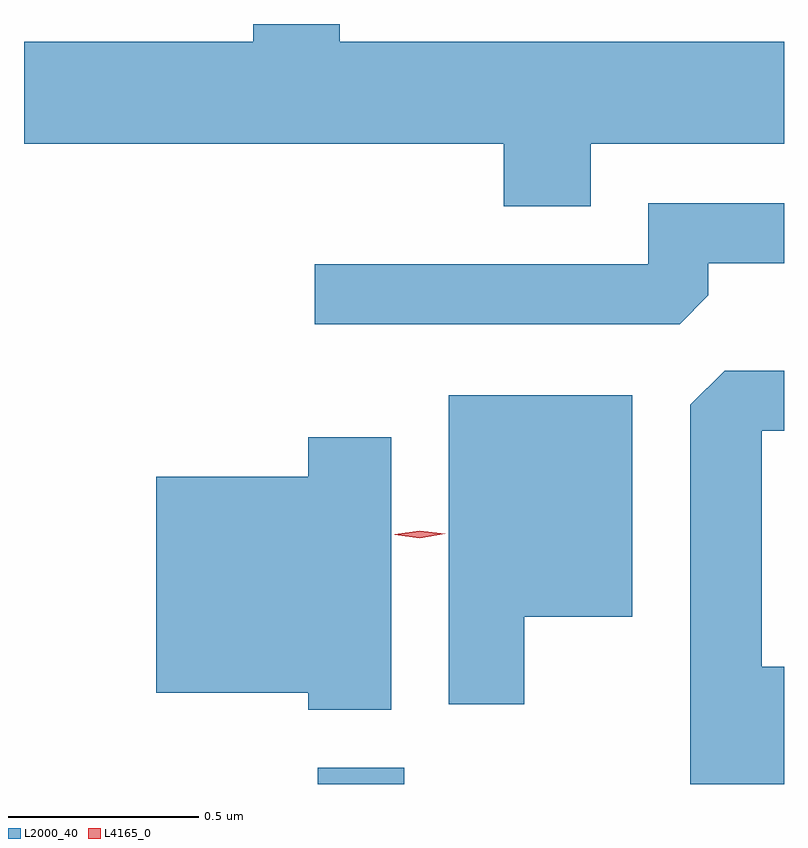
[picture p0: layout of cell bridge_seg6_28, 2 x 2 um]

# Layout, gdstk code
import gdstk
lib = gdstk.Library(unit=1e-6, precision=1e-09)
def R(c, l, rs):  # rectangles x0, y0, x1, y1
    for r in rs: c.add(gdstk.rectangle(r[:2], r[2:], *l))
def P(c, l, *ps):  # polygons
    for p in ps: c.add(gdstk.Polygon(p, *l))
L2000_40 = (2000, 40)
L4165_0 = (4165, 0)

bridge_seg6_28 = lib.new_cell('bridge_seg6_28')
R(bridge_seg6_28, L2000_40, [(1789.671,1648.251,1789.899,1648.294)])
P(bridge_seg6_28, L2000_40, [(1790.389,1649.936),(1790.898,1649.936),(1790.898,1650.204),(1789.729,1650.204),(1789.729,1650.251),(1789.501,1650.251),(1789.501,1650.204),(1788.898,1650.204),(1788.898,1649.936),(1790.161,1649.936),(1790.161,1649.771),(1790.389,1649.771)],
  [(1790.699,1649.537),(1790.699,1649.621),(1790.898,1649.621),(1790.898,1649.779),(1790.541,1649.779),(1790.541,1649.619),(1789.663,1649.619),(1789.663,1649.461),(1790.624,1649.461)],
  [(1790.898,1648.559),(1790.839,1648.559),(1790.839,1649.181),(1790.898,1649.181),(1790.898,1649.339),(1790.742,1649.339),(1790.651,1649.249),(1790.651,1648.251),(1790.898,1648.251)],
  [(1790.214,1648.691),(1790.499,1648.691),(1790.499,1649.274),(1790.016,1649.274),(1790.016,1648.461),(1790.214,1648.461)],
  [(1789.864,1649.164),(1789.646,1649.164),(1789.646,1649.059),(1789.246,1649.059),(1789.246,1648.491),(1789.646,1648.491),(1789.646,1648.446),(1789.864,1648.446)])
P(bridge_seg6_28, L4165_0, [(1789.94,1648.898),(1789.874,1648.907),(1789.873,1648.907),(1789.874,1648.908),(1789.939,1648.918),(1790.006,1648.91),(1790.006,1648.909),(1790.006,1648.909)])

lib.write_gds('bridge_seg6_28.gds')
